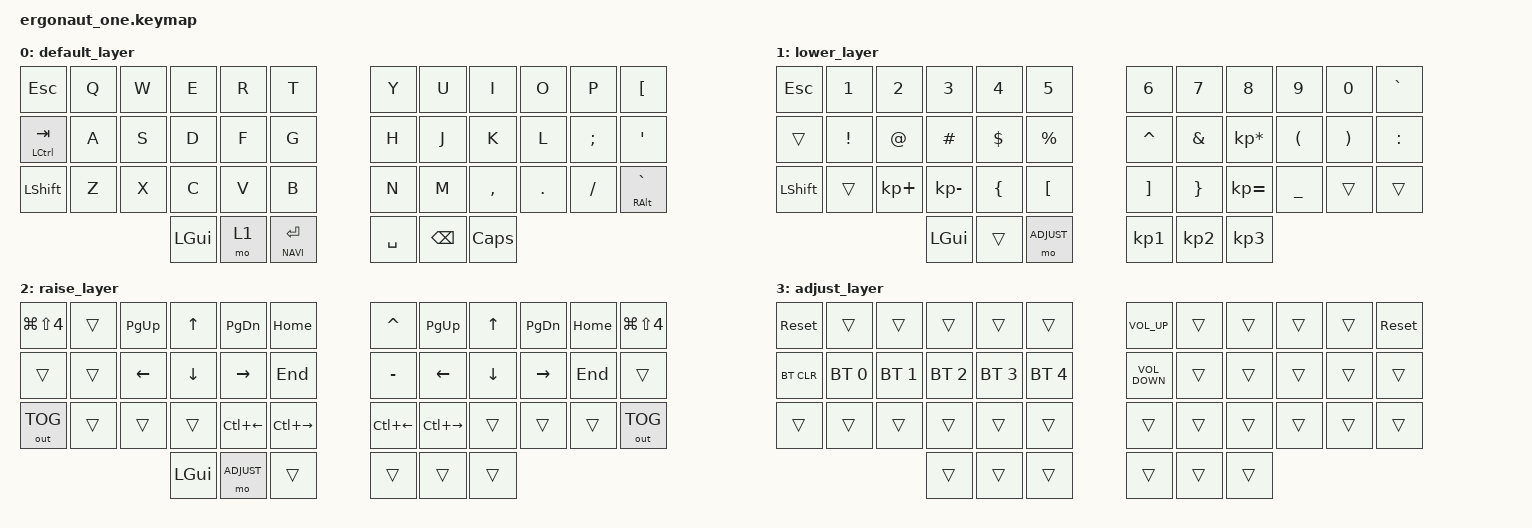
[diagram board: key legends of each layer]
#include <behaviors.dtsi>
#include <dt-bindings/zmk/bt.h>
#include <dt-bindings/zmk/keys.h>
#include <dt-bindings/zmk/outputs.h>

#define QWERTY 0
#define NUMB 1
#define NAVI 2
#define ADJUST 3

&lt {
    tapping-term-ms = <300>;
    quick_tap_ms = <200>;
    flavor = "hold-preferred";
};

/ {
    chosen { zmk,matrix_transform = &default_transform; };

    behaviors {
        hm: homerow_mods {
            compatible = "zmk,behavior-hold-tap";
            label = "HOMEROW_MODS";
            #binding-cells = <2>;
            tapping-term-ms = <150>;
            quick_tap_ms = <150>;
            flavor = "tap-preferred";
            bindings = <&kp>, <&kp>;
        };

        lm: left_hand_positional_hold_tap {
            compatible = "zmk,behavior-hold-tap";
            label = "LEFT_HOMEROW_MODS";
            #binding-cells = <2>;
            flavor = "tap-unless-interrupted";
            tapping-term-ms = <200>;
            quick-tap-ms = <200>;
            bindings = <&kp>, <&kp>;

            hold-trigger-key-positions = <5 6 7 8 9 15 16 17 18 19 25 26 27 28 29>;
        };

        rm: right_hand_positional_hold_tap {
            compatible = "zmk,behavior-hold-tap";
            label = "RIGHT_HOMEROW_MODS";
            #binding-cells = <2>;
            flavor = "tap-unless-interrupted";
            tapping-term-ms = <200>;
            quick-tap-ms = <200>;
            bindings = <&kp>, <&kp>;

            hold-trigger-key-positions = <0 1 2 3 4 10 11 12 13 14 20 21 22 23 24>;
        };
    };

    keymap {
        compatible = "zmk,keymap";

        default_layer {
            // .--------------------------------------------------------------.       .-----------------------------------------------------------.
            // |   ESC        |    Q    |    W   |   E    |    R    |    T    |       |   Y   |    U    |    I    |    O    |     P    |    \     |
            // |--------------+---------+--------+--------+---------+---------|       |-------+---------+---------+---------+----------+----------|
            // |   CTRL/Tab   |    A    |    S   |   D    |    F    |    G    |       |   H   |    J    |    K    |    L    |     ;    |     '    |
            // |--------------+---------+--------+--------+---------+---------|       |-------+---------+---------+---------+----------+----------|
            // |   SHFT       |    Z    |    X   |   C    |    V    |    B    |       |   N   |    M    |    ,    |    .    |     /    | ` | ALT  |
            // '---------------------------------+--------+---------+---------+       |-------+---------+---------+-------------------------------'
            //                                   |  GUI   |   MO1   |   ENT   |       |  SPC  |   BKSP  |  CAPS   |
            //                                   '--------+---------+---------'       '-------+---------+---------'

            bindings = <
&kp ESC        &kp Q  &kp W  &kp E     &kp R  &kp T         &kp Y      &kp U     &kp I         &kp O    &kp P     &kp LBKT
&mt LCTRL TAB  &kp A  &kp S  &kp D     &kp F  &kp G         &kp H      &kp J     &kp K         &kp L    &kp SEMI  &kp SQT
&kp LSHFT      &kp Z  &kp X  &kp C     &kp V  &kp B         &kp N      &kp M     &kp COMMA     &kp DOT  &kp FSLH  &mt RALT GRAVE
                             &kp LGUI  &mo 1  &lt NAVI RET  &kp SPACE  &kp BSPC  &kp CAPSLOCK
            >;
        };

        lower_layer {
            // .--------------------------------------------------------------.       .-----------------------------------------------------------.
            // |   ESC        |    1    |    2   |   3    |    4    |    5    |       |   6   |    7    |    8    |    9    |     0    |    `     |
            // |--------------+---------+--------+--------+---------+---------|       |-------+---------+---------+---------+----------+----------|
            // |              |    !    |    @   |   #    |    $    |    %    |       |   ^   |    &    |    *    |    (    |     )    |     :    |
            // |--------------+---------+--------+--------+---------+---------|       |-------+---------+---------+---------+----------+----------|
            // |   SHFT       |         |    +   |   -    |    {    |    [    |       |   ]   |    }    |    =    |    _    |          |          |
            // '---------------------------------+--------+---------+---------+       |-------+---------+---------+-------------------------------'
            //                                   |  GUI   |         |   MO3   |       |   ,   |    .    |   ?     |
            //                                   '--------+---------+---------'       '-------+---------+---------'

            bindings = <
&kp ESC    &kp N1    &kp N2       &kp N3        &kp N4          &kp N5            &kp N6             &kp N7           &kp N8           &kp N9          &kp N0    &kp GRAVE
&trans     &kp EXCL  &kp AT       &kp HASH      &kp DLLR        &kp PRCNT         &kp CARET          &kp AMPS         &kp KP_MULTIPLY  &kp LPAR        &kp RPAR  &kp COLON
&kp LSHFT  &trans    &kp KP_PLUS  &kp KP_MINUS  &kp LEFT_BRACE  &kp LEFT_BRACKET  &kp RIGHT_BRACKET  &kp RIGHT_BRACE  &kp KP_EQUAL     &kp UNDERSCORE  &trans    &trans
                                  &kp LGUI      &trans          &mo ADJUST        &kp KP_N1          &kp KP_N2        &kp KP_N3
            >;
        };

        raise_layer {
            // .----------------------------------------------------------------.       .-----------------------------------------------------------------.
            // |   CMD+SHIFT+4  |       |   PU   |   UP   |    PD    |   HOME   |       |  HOME   |    PU    |    UP   |   PD    |          | CMD+SHIFT+4 |
            // |----------------+-------+--------+--------+----------+----------|       |---------+----------+---------+---------+----------+-------------|
            // |                |       |  LEFT  |  DOWN  |   RIGHT  |   END    |       |  END    |   LEFT   |   DOWN  |  RIGHT  |          |             |
            // |----------------+-------+--------+--------+----------+----------|       |---------+----------+---------+---------+----------+-------------|
            // |     OUT_TOG    |       |        |        |CTRL+LEFT |CTRL+RIGHT|       |CTRL+LEFT|CTRL+RIGHT|         |         |          |   OUT_TOG   |
            // '---------------------------------+--------+----------+----------+       |---------+----------+---------+----------------------------------'
            //                                   |  GUI   |   MO3    |          |       |         |          |         |
            //                                   '--------+----------+----------'       '---------+----------+---------'

            bindings = <
&kp LG(LS(N4))  &trans  &kp PAGE_UP     &kp UP_ARROW    &kp PAGE_DOWN       &kp HOME             &kp CARET           &kp PAGE_UP          &kp UP_ARROW    &kp PAGE_DOWN    &kp HOME  &kp LG(LS(N4))
&trans          &trans  &kp LEFT_ARROW  &kp DOWN_ARROW  &kp RIGHT_ARROW     &kp END              &kp MINUS           &kp LEFT_ARROW       &kp DOWN_ARROW  &kp RIGHT_ARROW  &kp END   &trans
&out OUT_TOG    &trans  &trans          &trans          &kp LC(LEFT_ARROW)  &kp LC(RIGHT_ARROW)  &kp LC(LEFT_ARROW)  &kp LC(RIGHT_ARROW)  &trans          &trans           &trans    &out OUT_TOG
                                        &kp LGUI        &mo ADJUST          &trans               &trans              &trans               &trans
            >;
        };

        adjust_layer {
            // .--------------------------------------------------------.       .--------------------------------------------------------------.
            // |         |        |        |        |         |         |       |  VOL+  |        |         |         |          |             |
            // |---------+--------+--------+--------+---------+---------|       |--------+--------+---------+---------+----------+-------------|
            // |  BTCLR  |  BT1   |  BT2   |  BT3   |  BT4    |  BT5    |       |  VOL-  |        |         |         |          |             |
            // |---------+--------+--------+--------+---------+---------|       |--------+--------+---------+---------+----------+-------------|
            // |         |        |        |        |         |         |       |        |        |         |         |          |             |
            // '---------------------------+--------+---------+---------+       |--------+--------+---------+----------------------------------'
            //                             |        |         |         |       |        |        |         |
            //                             '--------+---------+---------'       '--------+--------+---------'

            bindings = <
&sys_reset  &trans        &trans        &trans        &trans        &trans        &kp C_VOLUME_UP    &trans  &trans  &trans  &trans  &sys_reset
&bt BT_CLR  &bt BT_SEL 0  &bt BT_SEL 1  &bt BT_SEL 2  &bt BT_SEL 3  &bt BT_SEL 4  &kp C_VOLUME_DOWN  &trans  &trans  &trans  &trans  &trans
&trans      &trans        &trans        &trans        &trans        &trans        &trans             &trans  &trans  &trans  &trans  &trans
                                        &trans        &trans        &trans        &trans             &trans  &trans
            >;
        };
    };
};
